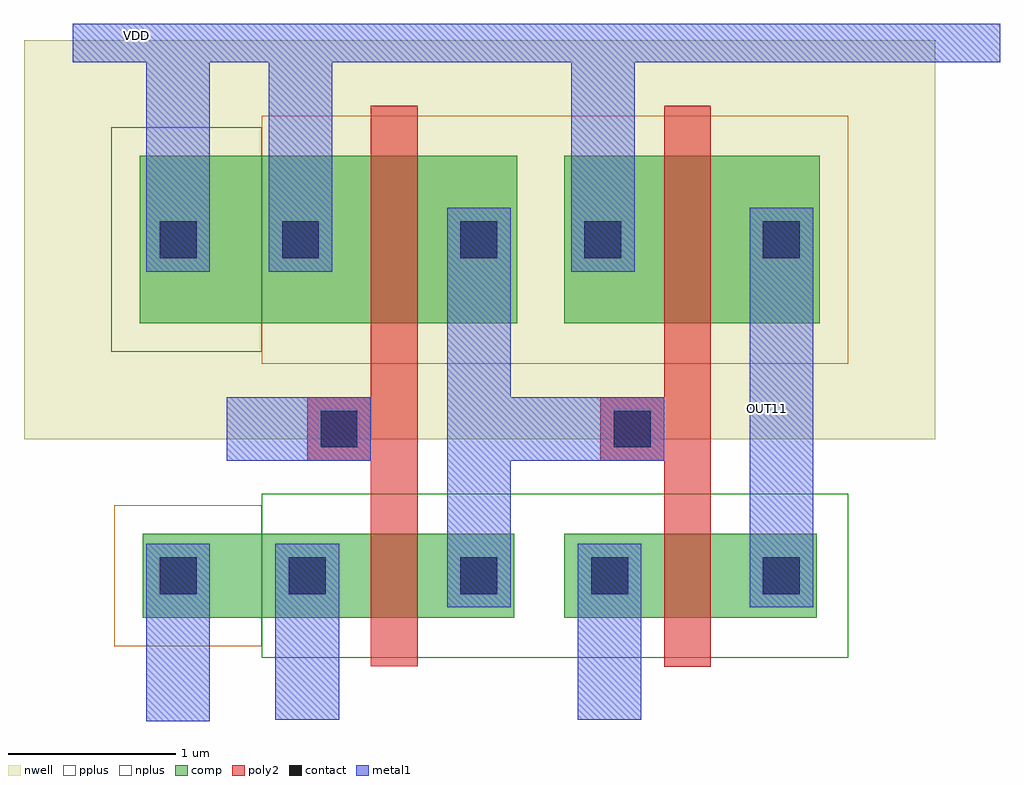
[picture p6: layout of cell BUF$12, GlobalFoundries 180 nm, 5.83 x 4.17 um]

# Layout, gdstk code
import gdstk
lib = gdstk.Library(unit=1e-6, precision=5e-09)
def R(c, l, rs):  # rectangles x0, y0, x1, y1
    for r in rs: c.add(gdstk.rectangle(r[:2], r[2:], *l))
nwell = (21, 0)
comp = (22, 0)
poly2 = (30, 0)
pplus = (31, 0)
nplus = (32, 0)
contact = (33, 0)
metal1 = (34, 0)

buf_12 = lib.new_cell('BUF$12')
R(buf_12, nwell, [(-1.55,0.955,3.89,3.335)])
R(buf_12, comp, [(-0.84,-0.11,-0.13,0.39), (-0.13,-0.11,0.35,0.39), (0.35,-0.11,0.955,0.39), (0.955,-0.11,1.375,0.39), (1.675,-0.11,2.155,0.39), (2.155,-0.11,2.76,0.39), (2.76,-0.11,3.18,0.39), (-0.86,1.645,-0.13,2.645), (-0.13,1.645,0.33,2.645), (0.33,1.645,0.935,2.645), (0.935,1.645,1.395,2.645), (1.675,1.645,2.135,2.645), (2.135,1.645,2.74,2.645), (2.74,1.645,3.2,2.645)])
R(buf_12, poly2, [(2.27,-0.405,2.55,2.945), (0.52,-0.4,0.8,2.945), (0.14,0.825,0.52,1.205), (1.89,0.825,2.27,1.205)])
R(buf_12, pplus, [(-1.01,-0.28,-0.13,0.56), (-0.13,1.405,1.62,2.885), (1.62,1.405,3.37,2.885)])
R(buf_12, nplus, [(-0.13,-0.35,1.62,0.63), (1.62,-0.35,3.37,0.63), (-1.03,1.475,-0.13,2.815)])
R(buf_12, contact, [(-0.74,0.03,-0.52,0.25), (0.03,0.03,0.25,0.25), (1.055,0.03,1.275,0.25), (1.835,0.03,2.055,0.25), (2.86,0.03,3.08,0.25), (0.22,0.905,0.44,1.125), (1.97,0.905,2.19,1.125), (-0.74,2.035,-0.52,2.255), (-0.01,2.035,0.21,2.255), (1.055,2.035,1.275,2.255), (1.795,2.035,2.015,2.255), (2.86,2.035,3.08,2.255)])
R(buf_12, metal1, [(-0.82,-0.73,-0.44,-0.04), (-0.05,-0.72,0.33,-0.03), (1.755,-0.72,2.135,-0.03), (-0.82,-0.05,-0.44,0.33), (-0.05,-0.05,0.33,0.33), (0.975,-0.05,1.355,0.33), (1.755,-0.05,2.135,0.33), (2.78,-0.05,3.16,0.33), (0.975,0.225,1.355,1.955), (2.78,0.225,3.16,1.955), (-0.34,0.825,0.14,1.205), (0.14,0.825,0.52,1.205), (1.355,0.825,1.89,1.205), (1.89,0.825,2.27,1.205), (-0.82,1.955,-0.44,2.335), (-0.09,1.955,0.29,2.335), (0.975,1.955,1.355,2.335), (1.715,1.955,2.095,2.335), (2.78,1.955,3.16,2.335), (-0.82,2.335,-0.44,3.355), (-0.09,2.335,0.29,3.355), (1.715,2.335,2.095,3.355), (-1.26,3.205,4.275,3.435)])
buf_12.add(gdstk.Label('OUT11', (2.885,1.14), layer=34, texttype=10))
buf_12.add(gdstk.Label('VDD', (-0.88,3.365), layer=34, texttype=10))

lib.write_gds('BUF_12.gds')
